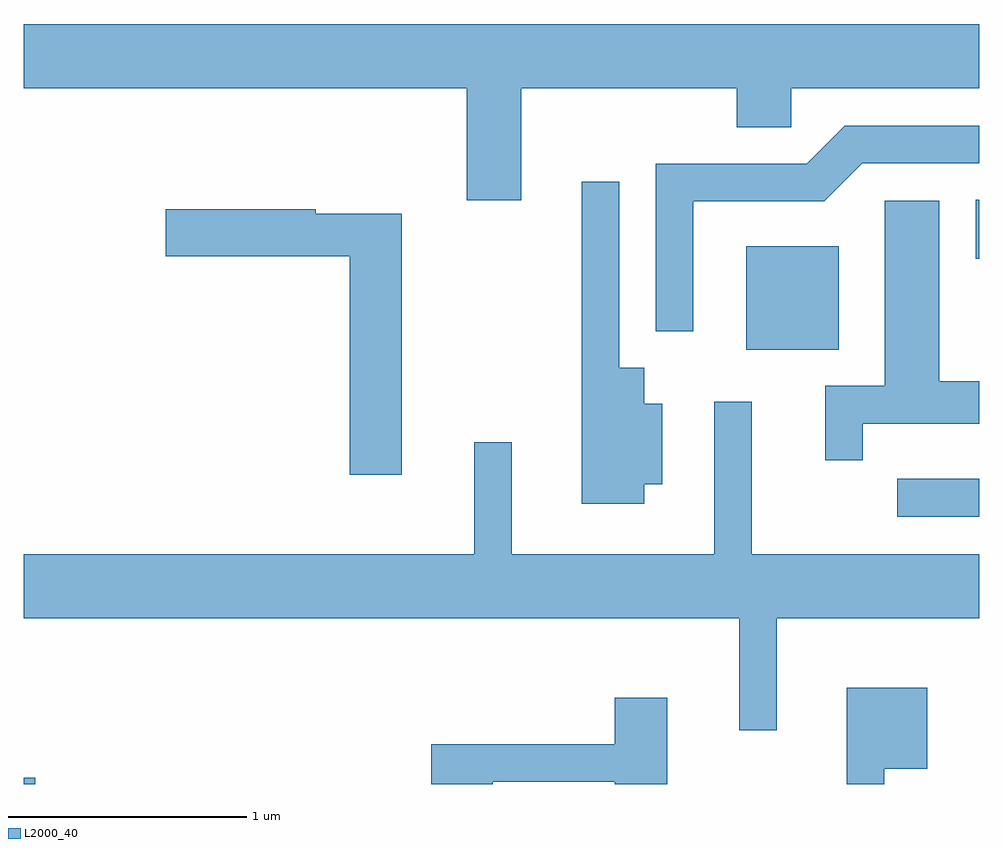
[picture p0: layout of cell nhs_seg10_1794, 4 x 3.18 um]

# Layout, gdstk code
import gdstk
lib = gdstk.Library(unit=1e-6, precision=1e-09)
def R(c, l, rs):  # rectangles x0, y0, x1, y1
    for r in rs: c.add(gdstk.rectangle(r[:2], r[2:], *l))
def P(c, l, *ps):  # polygons
    for p in ps: c.add(gdstk.Polygon(p, *l))
L2000_40 = (2000, 40)

nhs_seg10_1794 = lib.new_cell('nhs_seg10_1794')
R(nhs_seg10_1794, L2000_40, [(237.611,2146.522,237.659,2146.549), (241.268,2147.641,241.611,2147.799), (240.636,2148.341,241.024,2148.774), (241.596,2148.721,241.611,2148.969)])
P(nhs_seg10_1794, L2000_40, [(239.694,2149.436),(240.596,2149.436),(240.596,2149.271),(240.824,2149.271),(240.824,2149.436),(241.611,2149.436),(241.611,2149.704),(237.611,2149.704),(237.611,2149.436),(239.466,2149.436),(239.466,2148.966),(239.694,2148.966)],
  [(240.414,2148.961),(240.962,2148.961),(241.122,2149.121),(241.611,2149.121),(241.611,2149.279),(241.049,2149.279),(240.889,2149.119),(240.256,2149.119),(240.256,2148.418),(240.414,2148.418)],
  [(240.209,2147.776),(240.284,2147.776),(240.284,2148.114),(240.209,2148.114),(240.209,2148.264),(240.104,2148.264),(240.104,2149.043),(239.946,2149.043),(239.946,2147.696),(240.209,2147.696)],
  [(241.124,2148.031),(241.611,2148.031),(241.611,2148.209),(241.444,2148.209),(241.444,2148.964),(241.216,2148.964),(241.216,2148.189),(240.966,2148.189),(240.966,2147.878),(241.124,2147.878)],
  [(239.194,2148.909),(238.834,2148.909),(238.834,2148.929),(238.206,2148.929),(238.206,2148.731),(238.976,2148.731),(238.976,2147.816),(239.194,2147.816)],
  [(240.764,2147.216),(241.611,2147.216),(241.611,2147.484),(240.659,2147.484),(240.659,2148.123),(240.501,2148.123),(240.501,2147.484),(239.654,2147.484),(239.654,2147.953),(239.496,2147.953),(239.496,2147.484),(237.611,2147.484),(237.611,2147.216),(240.606,2147.216),(240.606,2146.748),(240.764,2146.748)],
  [(241.214,2146.586),(241.394,2146.586),(241.394,2146.924),(241.056,2146.924),(241.056,2146.522),(241.214,2146.522)],
  [(239.574,2146.531),(240.086,2146.531),(240.086,2146.522),(240.304,2146.522),(240.304,2146.884),(240.086,2146.884),(240.086,2146.689),(239.316,2146.689),(239.316,2146.522),(239.574,2146.522)])

lib.write_gds('nhs_seg10_1794.gds')
